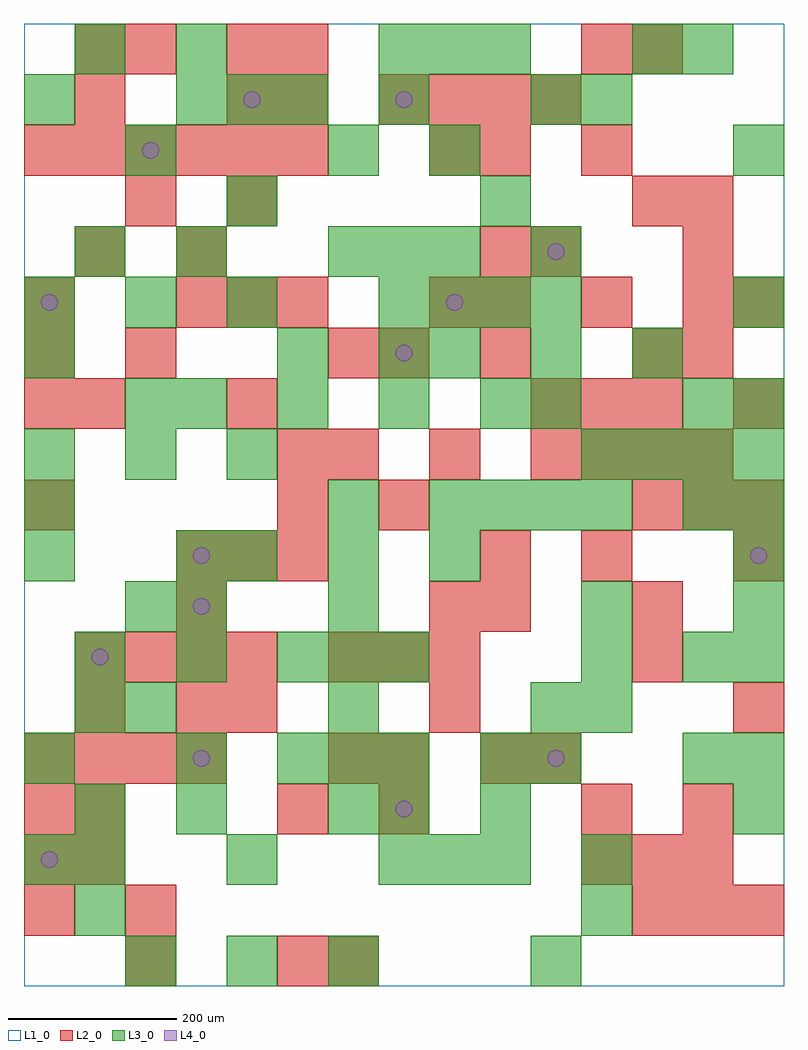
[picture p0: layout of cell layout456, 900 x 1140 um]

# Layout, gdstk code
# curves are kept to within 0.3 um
import gdstk
lib = gdstk.Library(unit=1e-6, precision=1e-09)
def R(c, l, rs):  # rectangles x0, y0, x1, y1
    for r in rs: c.add(gdstk.rectangle(r[:2], r[2:], *l))
def A(c, l, x, y, w, h, nx, ny, dx, dy):  # array of equal rectangles
    R(c, l, [(x+i*dx, y+j*dy, x+i*dx+w, y+j*dy+h) for i in range(nx) for j in range(ny)])
def P(c, l, *ps):  # polygons
    for p in ps: c.add(gdstk.Polygon(p, *l))
L1_0 = (1, 0)
L2_0 = (2, 0)
L3_0 = (3, 0)
L4_0 = (4, 0)

layout456 = lib.new_cell('layout456')
R(layout456, L1_0, [(0,0,900,1140)])
A(layout456, L2_0, 0, 60, 60, 60, 1, 3, 0, 60)
A(layout456, L2_0, 720, 60, 60, 60, 3, 2, 60, 480)
A(layout456, L2_0, 660, 120, 60, 60, 3, 2, 60, 480)
A(layout456, L2_0, 0, 240, 60, 60, 4, 1, 60, 0)
A(layout456, L2_0, 840, 300, 60, 60, 1, 3, 0, 180)
A(layout456, L2_0, 60, 360, 60, 60, 4, 1, 60, 0)
A(layout456, L2_0, 360, 360, 60, 60, 3, 1, 60, 0)
A(layout456, L2_0, 180, 480, 60, 60, 3, 2, 60, 300)
A(layout456, L2_0, 360, 600, 60, 60, 3, 1, 120, 0)
A(layout456, L2_0, 0, 660, 60, 60, 1, 3, 0, 60)
A(layout456, L2_0, 60, 660, 60, 60, 1, 3, 0, 180)
A(layout456, L2_0, 600, 660, 60, 60, 3, 1, 60, 0)
A(layout456, L2_0, 120, 720, 60, 60, 1, 3, 0, 180)
A(layout456, L2_0, 540, 720, 60, 60, 1, 3, 0, 120)
A(layout456, L2_0, 720, 720, 60, 60, 1, 3, 0, 180)
A(layout456, L2_0, 540, 780, 60, 60, 3, 1, 120, 0)
A(layout456, L2_0, 0, 960, 60, 60, 6, 1, 60, 0)
A(layout456, L2_0, 420, 1020, 60, 60, 4, 1, 60, 0)
R(layout456, L2_0, [(120,0,180,60), (300,0,360,60), (360,0,420,60), (120,60,180,120), (60,120,120,180), (60,180,120,240), (300,180,360,240), (420,180,480,240), (660,180,720,240), (780,180,840,240), (360,240,420,300), (420,240,480,300), (540,240,600,300), (600,240,660,300), (60,300,120,360), (180,300,240,360), (240,300,300,360), (480,300,540,360), (720,360,780,420), (180,420,240,480), (480,420,540,480), (540,420,600,480), (720,420,780,480), (540,480,600,540), (660,480,720,540), (0,540,60,600), (300,540,360,600), (420,540,480,600), (300,600,360,660), (240,660,300,720), (360,720,420,780), (420,720,480,780), (780,720,840,780), (480,780,540,840), (840,780,900,840), (180,840,240,900), (600,840,660,900), (780,840,840,900), (240,900,300,960), (780,900,840,960), (480,960,540,1020), (660,960,720,1020), (240,1020,300,1080), (300,1020,360,1080), (60,1080,120,1140), (240,1080,300,1140), (300,1080,360,1140), (660,1080,720,1140)])
A(layout456, L3_0, 120, 0, 60, 60, 3, 1, 120, 0)
A(layout456, L3_0, 60, 60, 60, 60, 1, 3, 0, 120)
A(layout456, L3_0, 60, 120, 60, 60, 3, 1, 180, 0)
A(layout456, L3_0, 540, 120, 60, 60, 1, 3, 0, 60)
A(layout456, L3_0, 300, 240, 60, 60, 3, 1, 60, 0)
A(layout456, L3_0, 120, 300, 60, 60, 3, 1, 240, 0)
A(layout456, L3_0, 660, 300, 60, 60, 1, 3, 0, 60)
A(layout456, L3_0, 60, 360, 60, 60, 3, 1, 120, 0)
A(layout456, L3_0, 840, 360, 60, 60, 1, 4, 0, 60)
A(layout456, L3_0, 240, 480, 60, 60, 3, 1, 120, 0)
A(layout456, L3_0, 480, 540, 60, 60, 4, 1, 60, 0)
A(layout456, L3_0, 0, 600, 60, 60, 3, 2, 120, 180)
A(layout456, L3_0, 660, 600, 60, 60, 4, 1, 60, 0)
A(layout456, L3_0, 180, 660, 60, 60, 4, 1, 120, 0)
A(layout456, L3_0, 600, 660, 60, 60, 1, 3, 0, 180)
A(layout456, L3_0, 480, 720, 60, 60, 3, 1, 120, 0)
A(layout456, L3_0, 420, 780, 60, 60, 4, 1, 60, 0)
A(layout456, L3_0, 360, 840, 60, 60, 3, 1, 60, 0)
A(layout456, L3_0, 180, 1020, 60, 60, 3, 1, 60, 0)
A(layout456, L3_0, 420, 1080, 60, 60, 3, 1, 60, 0)
R(layout456, L3_0, [(600,0,660,60), (660,60,720,120), (0,120,60,180), (480,120,540,180), (660,120,720,180), (180,180,240,240), (360,180,420,240), (420,180,480,240), (840,180,900,240), (0,240,60,300), (180,240,240,300), (600,240,660,300), (780,240,840,300), (840,240,900,300), (360,360,420,420), (420,360,480,420), (780,360,840,420), (120,420,180,480), (180,420,240,480), (360,420,420,480), (0,480,60,540), (180,480,240,540), (0,540,60,600), (360,540,420,600), (780,540,840,600), (120,660,180,720), (780,660,840,720), (840,660,900,720), (0,720,60,780), (300,720,360,780), (420,720,480,780), (840,780,900,840), (60,840,120,900), (180,840,240,900), (240,900,300,960), (540,900,600,960), (120,960,180,1020), (360,960,420,1020), (480,960,540,1020), (840,960,900,1020), (0,1020,60,1080), (420,1020,480,1080), (660,1020,720,1080), (60,1080,120,1140), (180,1080,240,1140), (720,1080,780,1140), (780,1080,840,1140)])
P(layout456, L4_0, [(40,150),(39.239,153.827),(37.071,157.071),(33.827,159.239),(30,160),(26.173,159.239),(22.929,157.071),(20.761,153.827),(20,150),(20.761,146.173),(22.929,142.929),(26.173,140.761),(30,140),(33.827,140.761),(37.071,142.929),(39.239,146.173)],
  [(40,810),(39.239,813.827),(37.071,817.071),(33.827,819.239),(30,820),(26.173,819.239),(22.929,817.071),(20.761,813.827),(20,810),(20.761,806.173),(22.929,802.929),(26.173,800.761),(30,800),(33.827,800.761),(37.071,802.929),(39.239,806.173)],
  [(100,390),(99.239,393.827),(97.071,397.071),(93.827,399.239),(90,400),(86.173,399.239),(82.929,397.071),(80.761,393.827),(80,390),(80.761,386.173),(82.929,382.929),(86.173,380.761),(90,380),(93.827,380.761),(97.071,382.929),(99.239,386.173)],
  [(160,990),(159.239,993.827),(157.071,997.071),(153.827,999.239),(150,1000),(146.173,999.239),(142.929,997.071),(140.761,993.827),(140,990),(140.761,986.173),(142.929,982.929),(146.173,980.761),(150,980),(153.827,980.761),(157.071,982.929),(159.239,986.173)],
  [(220,270),(219.239,273.827),(217.071,277.071),(213.827,279.239),(210,280),(206.173,279.239),(202.929,277.071),(200.761,273.827),(200,270),(200.761,266.173),(202.929,262.929),(206.173,260.761),(210,260),(213.827,260.761),(217.071,262.929),(219.239,266.173)],
  [(220,450),(219.239,453.827),(217.071,457.071),(213.827,459.239),(210,460),(206.173,459.239),(202.929,457.071),(200.761,453.827),(200,450),(200.761,446.173),(202.929,442.929),(206.173,440.761),(210,440),(213.827,440.761),(217.071,442.929),(219.239,446.173)],
  [(220,510),(219.239,513.827),(217.071,517.071),(213.827,519.239),(210,520),(206.173,519.239),(202.929,517.071),(200.761,513.827),(200,510),(200.761,506.173),(202.929,502.929),(206.173,500.761),(210,500),(213.827,500.761),(217.071,502.929),(219.239,506.173)],
  [(280,1050),(279.239,1053.827),(277.071,1057.071),(273.827,1059.239),(270,1060),(266.173,1059.239),(262.929,1057.071),(260.761,1053.827),(260,1050),(260.761,1046.173),(262.929,1042.929),(266.173,1040.761),(270,1040),(273.827,1040.761),(277.071,1042.929),(279.239,1046.173)],
  [(460,210),(459.239,213.827),(457.071,217.071),(453.827,219.239),(450,220),(446.173,219.239),(442.929,217.071),(440.761,213.827),(440,210),(440.761,206.173),(442.929,202.929),(446.173,200.761),(450,200),(453.827,200.761),(457.071,202.929),(459.239,206.173)],
  [(460,750),(459.239,753.827),(457.071,757.071),(453.827,759.239),(450,760),(446.173,759.239),(442.929,757.071),(440.761,753.827),(440,750),(440.761,746.173),(442.929,742.929),(446.173,740.761),(450,740),(453.827,740.761),(457.071,742.929),(459.239,746.173)],
  [(460,1050),(459.239,1053.827),(457.071,1057.071),(453.827,1059.239),(450,1060),(446.173,1059.239),(442.929,1057.071),(440.761,1053.827),(440,1050),(440.761,1046.173),(442.929,1042.929),(446.173,1040.761),(450,1040),(453.827,1040.761),(457.071,1042.929),(459.239,1046.173)],
  [(520,810),(519.239,813.827),(517.071,817.071),(513.827,819.239),(510,820),(506.173,819.239),(502.929,817.071),(500.761,813.827),(500,810),(500.761,806.173),(502.929,802.929),(506.173,800.761),(510,800),(513.827,800.761),(517.071,802.929),(519.239,806.173)],
  [(640,270),(639.239,273.827),(637.071,277.071),(633.827,279.239),(630,280),(626.173,279.239),(622.929,277.071),(620.761,273.827),(620,270),(620.761,266.173),(622.929,262.929),(626.173,260.761),(630,260),(633.827,260.761),(637.071,262.929),(639.239,266.173)],
  [(640,870),(639.239,873.827),(637.071,877.071),(633.827,879.239),(630,880),(626.173,879.239),(622.929,877.071),(620.761,873.827),(620,870),(620.761,866.173),(622.929,862.929),(626.173,860.761),(630,860),(633.827,860.761),(637.071,862.929),(639.239,866.173)],
  [(880,510),(879.239,513.827),(877.071,517.071),(873.827,519.239),(870,520),(866.173,519.239),(862.929,517.071),(860.761,513.827),(860,510),(860.761,506.173),(862.929,502.929),(866.173,500.761),(870,500),(873.827,500.761),(877.071,502.929),(879.239,506.173)])

lib.write_gds('layout456.gds')
